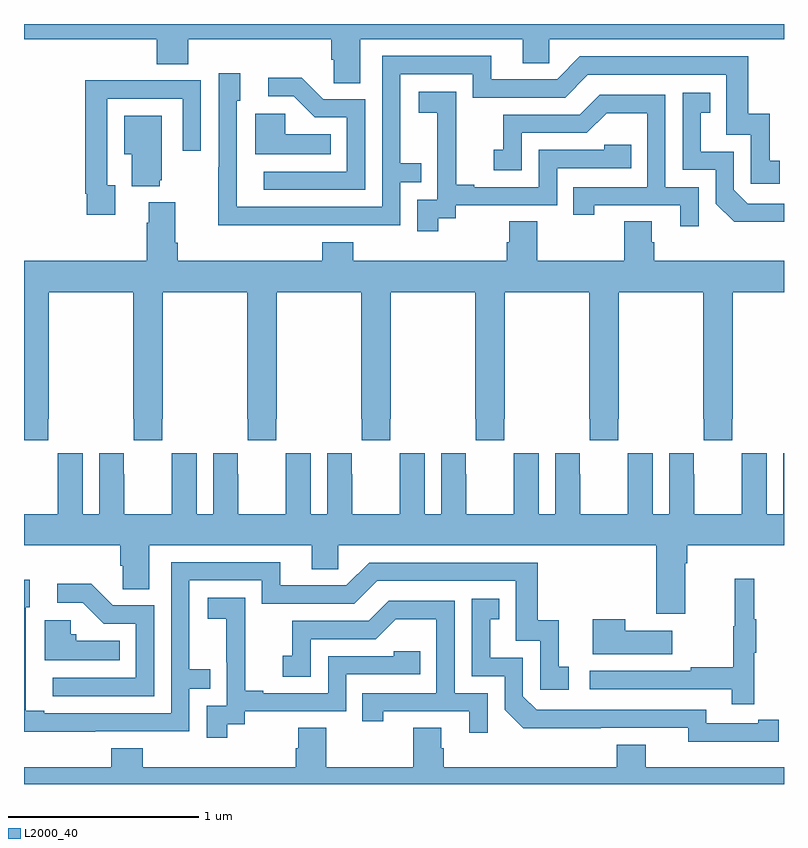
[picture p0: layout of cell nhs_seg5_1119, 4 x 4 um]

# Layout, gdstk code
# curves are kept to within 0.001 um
import gdstk
lib = gdstk.Library(unit=1e-6, precision=1e-09)
def P(c, l, *ps):  # polygons
    for p in ps: c.add(gdstk.Polygon(p, *l))
L2000_40 = (2000, 40)

nhs_seg5_1119 = lib.new_cell('nhs_seg5_1119')
P(nhs_seg5_1119, L2000_40, [(180.769,896.72),(181.625,896.72),(181.625,896.593),(181.764,896.593),(181.764,896.72),(183,896.72),(183,896.799),(179,896.799),(179,896.72),(179.699,896.72),(179.699,896.587),(179.864,896.587),(179.864,896.72),(180.617,896.72),(180.617,896.611),(180.63,896.611),(180.63,896.488),(180.769,896.488)],
  [(180.485,895.74),(180.981,895.74),(180.981,895.965),(181.091,895.965),(181.091,896.066),(180.981,896.066),(180.981,896.535),(181.362,896.535),(181.362,896.412),(181.848,896.412),(181.968,896.532),(182.697,896.532),(182.697,896.217),(182.826,896.217),(182.826,895.959),(182.977,895.959),(182.977,896.079),(182.924,896.079),(182.924,896.326),(182.813,896.326),(182.813,896.628),(181.926,896.628),(181.806,896.508),(181.459,896.508),(181.459,896.631),(180.885,896.631),(180.885,895.836),(180.121,895.836),(180.12,896.394),(180.139,896.394),(180.139,896.539),(180.024,896.539),(180.024,896.045),(180.022,896.045),(180.022,895.739)],
  [(180.795,896.403),(180.576,896.403),(180.463,896.516),(180.285,896.516),(180.285,896.418),(180.419,896.418),(180.53,896.307),(180.699,896.307),(180.699,896.022),(180.261,896.022),(180.261,895.926),(180.795,895.926)],
  [(179.479,895.95),(179.439,895.95),(179.439,896.406),(179.835,896.406),(179.835,896.133),(179.931,896.133),(179.931,896.502),(179.615,896.502),(179.615,896.504),(179.323,896.504),(179.323,895.906),(179.331,895.906),(179.331,895.794),(179.479,895.794)],
  [(181.18,895.777),(181.272,895.777),(181.272,895.845),(181.806,895.845),(181.806,896.04),(182.195,896.04),(182.195,896.163),(182.055,896.163),(182.055,896.136),(181.71,896.136),(181.71,895.941),(181.369,895.941),(181.369,895.954),(181.274,895.954),(181.274,896.237),(181.275,896.237),(181.275,896.443),(181.077,896.443),(181.077,896.333),(181.175,896.333),(181.175,896.105),(181.176,896.105),(181.176,895.875),(181.071,895.875),(181.071,895.707),(181.18,895.707)],
  [(183,895.854),(182.808,895.854),(182.736,895.926),(182.736,896.127),(182.563,896.127),(182.563,896.331),(182.612,896.331),(182.612,896.437),(182.466,896.437),(182.466,896.031),(182.64,896.031),(182.64,895.854),(182.738,895.757),(183,895.757)],
  [(182.55,895.941),(182.376,895.941),(182.376,896.427),(182.03,896.427),(181.925,896.322),(181.522,896.322),(181.522,896.137),(181.473,896.137),(181.473,896.028),(181.62,896.028),(181.62,896.226),(181.962,896.226),(182.066,896.33),(182.28,896.33),(182.28,895.941),(181.891,895.941),(181.891,895.794),(182.002,895.794),(182.002,895.845),(182.453,895.845),(182.453,895.734),(182.55,895.734)],
  [(180.614,896.218),(180.375,896.218),(180.375,896.326),(180.218,896.326),(180.218,896.114),(180.614,896.114)],
  [(179.714,895.977),(179.725,895.977),(179.725,896.317),(179.528,896.317),(179.528,896.114),(179.567,896.114),(179.567,895.946),(179.714,895.946)],
  [(179.127,894.721),(179.13,894.721),(179.13,895.388),(179.575,895.388),(179.575,894.721),(179.577,894.721),(179.577,894.609),(179.727,894.609),(179.727,894.721),(179.73,894.721),(179.73,895.388),(180.175,895.388),(180.175,894.721),(180.177,894.721),(180.177,894.609),(180.327,894.609),(180.327,894.721),(180.33,894.721),(180.33,895.388),(180.775,895.388),(180.775,894.721),(180.777,894.721),(180.777,894.609),(180.927,894.609),(180.927,894.721),(180.93,894.721),(180.93,895.388),(181.375,895.388),(181.375,894.721),(181.377,894.721),(181.377,894.609),(181.527,894.609),(181.527,894.721),(181.53,894.721),(181.53,895.388),(181.975,895.388),(181.975,894.721),(181.977,894.721),(181.977,894.609),(182.127,894.609),(182.127,894.721),(182.13,894.721),(182.13,895.388),(182.575,895.388),(182.575,894.721),(182.577,894.721),(182.577,894.609),(182.727,894.609),(182.727,894.721),(182.73,894.721),(182.73,895.388),(183,895.388),(183,895.552),(182.318,895.552),(182.318,895.65),(182.305,895.65),(182.305,895.76),(182.158,895.76),(182.158,895.552),(181.701,895.552),(181.701,895.76),(181.553,895.76),(181.553,895.65),(181.541,895.65),(181.541,895.552),(180.734,895.552),(180.734,895.651),(180.569,895.651),(180.569,895.552),(179.81,895.552),(179.81,895.648),(179.797,895.648),(179.797,895.861),(179.657,895.861),(179.657,895.754),(179.645,895.754),(179.645,895.552),(179,895.552),(179,894.609),(179.127,894.609)],
  [(182.479,893.96),(182.492,893.96),(182.492,894.056),(183,894.056),(183,894.541),(182.996,894.541),(182.996,894.22),(182.908,894.22),(182.908,894.541),(182.778,894.541),(182.778,894.428),(182.777,894.428),(182.777,894.22),(182.527,894.22),(182.527,894.428),(182.526,894.428),(182.526,894.541),(182.396,894.541),(182.396,894.22),(182.308,894.22),(182.308,894.541),(182.178,894.541),(182.178,894.428),(182.177,894.428),(182.177,894.22),(181.927,894.22),(181.927,894.428),(181.926,894.428),(181.926,894.541),(181.796,894.541),(181.796,894.22),(181.708,894.22),(181.708,894.541),(181.578,894.541),(181.578,894.428),(181.577,894.428),(181.577,894.22),(181.327,894.22),(181.327,894.428),(181.326,894.428),(181.326,894.541),(181.196,894.541),(181.196,894.22),(181.108,894.22),(181.108,894.541),(180.978,894.541),(180.978,894.428),(180.977,894.428),(180.977,894.22),(180.727,894.22),(180.727,894.428),(180.726,894.428),(180.726,894.541),(180.596,894.541),(180.596,894.22),(180.508,894.22),(180.508,894.541),(180.378,894.541),(180.378,894.428),(180.377,894.428),(180.377,894.22),(180.127,894.22),(180.127,894.428),(180.126,894.428),(180.126,894.541),(179.996,894.541),(179.996,894.22),(179.908,894.22),(179.908,894.541),(179.778,894.541),(179.778,894.428),(179.777,894.428),(179.777,894.22),(179.527,894.22),(179.527,894.428),(179.526,894.428),(179.526,894.541),(179.396,894.541),(179.396,894.22),(179.308,894.22),(179.308,894.541),(179.178,894.541),(179.178,894.428),(179.177,894.428),(179.177,894.22),(179,894.22),(179,894.056),(179.507,894.056),(179.507,893.947),(179.52,893.947),(179.52,893.824),(179.659,893.824),(179.659,894.056),(180.515,894.056),(180.515,893.929),(180.654,893.929),(180.654,894.056),(182.327,894.056),(182.327,893.694),(182.479,893.694)],
  [(179.375,893.076),(179.871,893.076),(179.871,893.301),(179.981,893.301),(179.981,893.402),(179.871,893.402),(179.871,893.871),(180.252,893.871),(180.252,893.748),(180.738,893.748),(180.858,893.868),(181.587,893.868),(181.587,893.553),(181.716,893.553),(181.716,893.295),(181.867,893.295),(181.867,893.415),(181.814,893.415),(181.814,893.662),(181.703,893.662),(181.703,893.964),(180.816,893.964),(180.696,893.844),(180.349,893.844),(180.349,893.967),(179.775,893.967),(179.775,893.172),(179.107,893.172),(179.107,893.185),(179.01,893.185),(179.01,893.73),(179.029,893.73),(179.029,893.875),(179,893.875),(179,893.075)],
  [(182.843,893.491),(182.854,893.491),(182.854,893.665),(182.843,893.665),(182.843,893.878),(182.74,893.878),(182.74,893.628),(182.733,893.628),(182.733,893.414),(182.509,893.414),(182.509,893.394),(181.977,893.394),(181.977,893.298),(182.725,893.298),(182.725,893.22),(182.843,893.22)],
  [(179.685,893.739),(179.466,893.739),(179.353,893.852),(179.175,893.852),(179.175,893.754),(179.309,893.754),(179.42,893.643),(179.589,893.643),(179.589,893.358),(179.151,893.358),(179.151,893.262),(179.685,893.262)],
  [(180.07,893.113),(180.162,893.113),(180.162,893.181),(180.696,893.181),(180.696,893.376),(181.085,893.376),(181.085,893.499),(180.945,893.499),(180.945,893.472),(180.6,893.472),(180.6,893.277),(180.259,893.277),(180.259,893.29),(180.164,893.29),(180.164,893.573),(180.165,893.573),(180.165,893.779),(179.967,893.779),(179.967,893.669),(180.065,893.669),(180.065,893.441),(180.066,893.441),(180.066,893.211),(179.961,893.211),(179.961,893.043),(180.07,893.043)],
  [(182.864,893.022),(182.972,893.022),(182.972,893.138),(182.864,893.138),(182.864,893.118),(182.592,893.118),(182.592,893.19),(181.698,893.19),(181.626,893.262),(181.626,893.463),(181.453,893.463),(181.453,893.667),(181.502,893.667),(181.502,893.773),(181.356,893.773),(181.356,893.367),(181.53,893.367),(181.53,893.19),(181.628,893.093),(182.496,893.094),(182.496,893.021)],
  [(181.44,893.277),(181.266,893.277),(181.266,893.763),(180.92,893.763),(180.815,893.658),(180.412,893.658),(180.412,893.473),(180.363,893.473),(180.363,893.364),(180.51,893.364),(180.51,893.562),(180.852,893.562),(180.956,893.666),(181.17,893.666),(181.17,893.277),(180.781,893.277),(180.781,893.13),(180.892,893.13),(180.892,893.181),(181.343,893.181),(181.343,893.07),(181.44,893.07)],
  [(182.413,893.605),(182.165,893.605),(182.165,893.665),(181.994,893.665),(181.994,893.483),(182.413,893.483)],
  [(179.504,893.554),(179.274,893.554),(179.274,893.586),(179.247,893.586),(179.247,893.662),(179.108,893.662),(179.108,893.45),(179.504,893.45)],
  [(183,892.888),(182.272,892.888),(182.272,893.005),(182.12,893.005),(182.12,892.888),(181.208,892.888),(181.208,892.986),(181.195,892.986),(181.195,893.096),(181.048,893.096),(181.048,892.888),(180.591,892.888),(180.591,893.096),(180.443,893.096),(180.443,892.986),(180.431,892.986),(180.431,892.888),(179.624,892.888),(179.624,892.987),(179.459,892.987),(179.459,892.888),(179,892.888),(179,892.799),(183,892.799)])

lib.write_gds('nhs_seg5_1119.gds')
